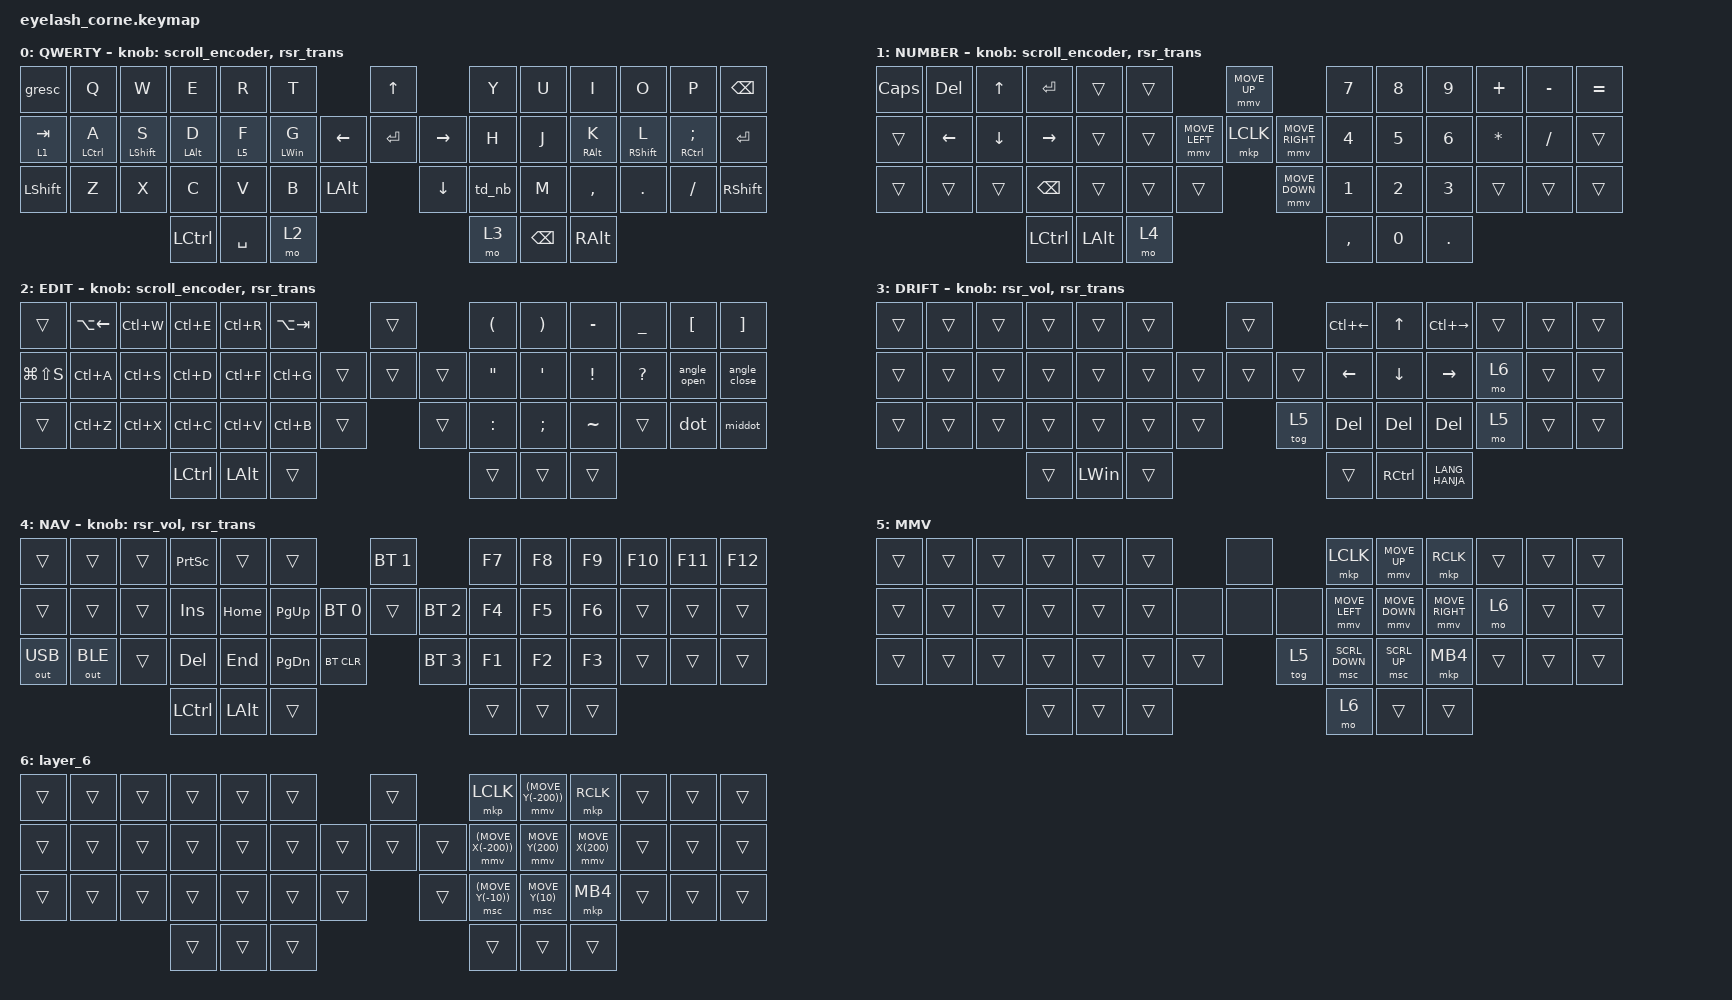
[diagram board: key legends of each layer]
#define ZMK_POINTING_DEFAULT_MOVE_VAL 600  // 600
#define ZMK_POINTING_DEFAULT_SCRL_VAL 30   // 10

#include <input/processors.dtsi>
#include <zephyr/dt-bindings/input/input-event-codes.h>
#include <behaviors/runtime-sensor-rotate.dtsi>
#include <behaviors.dtsi>
#include <dt-bindings/zmk/bt.h>
#include <dt-bindings/zmk/keys.h>
#include <dt-bindings/zmk/outputs.h>
#include <dt-bindings/zmk/pointing.h>
#include <dt-bindings/zmk/rgb.h>

&mmv_input_listener { input-processors = <&zip_xy_scaler 2 1>; };

&msc_input_listener { input-processors = <&zip_scroll_scaler 2 1>; };

&msc {
    acceleration-exponent = <1>;
    time-to-max-speed-ms = <200>;
    delay-ms = <0>;
};

&mmv {
    time-to-max-speed-ms = <700>;
    acceleration-exponent = <1>;
    trigger-period-ms = <16>;
};

&soft_off { hold-time-ms = <2000>; };

/ {
    behaviors {
        td0: td0 {
            compatible = "zmk,behavior-tap-dance";
            display-name = "Shift/Caps Lock Tap Dance";
            #binding-cells = <0>;
            bindings = <&kp LEFT_SHIFT>, <&kp CAPS>;
        };

        td_nb: td_nb {
            compatible = "zmk,behavior-tap-dance";
            label = "TD_NB";
            #binding-cells = <0>;
            bindings = <&kp N>, <&kp B>;
        };

        rsr_trans: rsr_trans {
            compatible = "zmk,behavior-runtime-sensor-rotate";
            #sensor-binding-cells = <0>;
            tap-ms = <0>;
        };

        rsr_vol: rsr_vol {
            compatible = "zmk,behavior-runtime-sensor-rotate";
            #sensor-binding-cells = <0>;
            tap-ms = <5>;
            cw-binding = <&kp C_VOL_UP>;
            ccw-binding = <&kp C_VOL_DN>;
        };

        home_mod: home_mod {
            compatible = "zmk,behavior-hold-tap";
            label = "HOME_MOD";
            bindings = <&kp>, <&kp>;

            #binding-cells = <2>;
            quick-tap-ms = <0>;
            tapping-term-ms = <500>;
            flavor = "tap-preferred";
        };

        home_mmv: home_mmv {
            compatible = "zmk,behavior-hold-tap";
            label = "HOME_MMV";
            bindings = <&mo>, <&kp>;

            #binding-cells = <2>;
            quick-tap-ms = <0>;
            tapping-term-ms = <500>;
            flavor = "tap-preferred";
        };
    };

    rgb_encoder: rgb_encoder {
        compatible = "zmk,behavior-sensor-rotate";
        #sensor-binding-cells = <0>;
        bindings = <&rgb_ug RGB_BRI>, <&rgb_ug RGB_BRD>;
    };

    scroll_encoder: scroll_encoder {
        compatible = "zmk,behavior-sensor-rotate";
        #sensor-binding-cells = <0>;
        bindings = <&msc SCRL_DOWN>, <&msc SCRL_UP>;

        tap-ms = <100>;
    };

    combos {
        compatible = "zmk,combos";

        softoff {
            bindings = <&soft_off>;
            key-positions = <1 15 29>;
        };
    };

    macros {
        dot: dot {
            compatible = "zmk,behavior-macro";
            #binding-cells = <0>;
            bindings =
                <&macro_press>,
                <&kp LEFT_ALT>,
                <&macro_tap>,
                <&kp KP_N0 &kp KP_N1 &kp KP_NUMBER_4 &kp KP_NUMBER_9>,
                <&macro_release>,
                <&kp LEFT_ALT>;

            label = "DOT";
            wait-ms = <20>;
            tap-ms = <20>;
        };

        angle_open: angle_open {
            compatible = "zmk,behavior-macro";
            #binding-cells = <0>;
            bindings =
                <&macro_press>,
                <&kp LEFT_ALT>,
                <&macro_tap>,
                <&kp KP_PLUS &kp KP_N3 &kp KP_NUMBER_0 &kp KP_NUMBER_0 &kp KP_NUMBER_8>,
                <&macro_release>,
                <&kp LEFT_ALT>;

            label = "ANGLE_OPEN";
            wait-ms = <20>;
            tap-ms = <20>;
        };

        angle_close: angle_close {
            compatible = "zmk,behavior-macro";
            #binding-cells = <0>;
            bindings =
                <&macro_press>,
                <&kp LEFT_ALT>,
                <&macro_tap>,
                <&kp KP_PLUS &kp KP_N3 &kp KP_NUMBER_0 &kp KP_NUMBER_0 &kp KP_NUMBER_9>,
                <&macro_release>,
                <&kp LEFT_ALT>;

            label = "angle_close";
            wait-ms = <20>;
            tap-ms = <20>;
        };

        middot: middot {
            compatible = "zmk,behavior-macro";
            #binding-cells = <0>;
            bindings =
                <&macro_press>,
                <&kp LEFT_ALT>,
                <&macro_tap>,
                <&kp KP_N0 &kp KP_N1 &kp KP_NUMBER_8 &kp KP_NUMBER_3>,
                <&macro_release>,
                <&kp LEFT_ALT>;

            label = "middot";
            wait-ms = <20>;
            tap-ms = <20>;
        };
    };

    keymap {
        compatible = "zmk,keymap";

        default_layer {
            display-name = "QWERTY";
            bindings = <
&gresc     &kp Q              &kp W              &kp E             &kp R          &kp T                                       &kp UP                &kp Y   &kp U          &kp I             &kp O              &kp P                      &kp BSPC
&lt 1 TAB  &home_mod LCTRL A  &home_mod LSHFT S  &home_mod LALT D  &home_mmv 5 F  &home_mod LEFT_WIN G              &kp LEFT  &kp ENTER  &kp RIGHT  &kp H   &kp J          &home_mod RALT K  &home_mod RSHFT L  &home_mod RCTRL SEMICOLON  &kp ENTER
&kp LSHFT  &kp Z              &kp X              &kp C             &kp V          &kp B                 &kp LALT              &kp DOWN              &td_nb  &kp M          &kp COMMA         &kp DOT            &kp FSLH                   &kp RSHFT
                                                 &kp LCTRL         &kp SPACE      &mo 2                                                             &mo 3   &kp BACKSPACE  &kp RALT
            >;

            sensor-bindings = <&scroll_encoder>, <&rsr_trans>;
        };

        lower_layer {
            display-name = "NUMBER";
            bindings = <
&kp CAPS  &kp DELETE  &kp UP_ARROW  &kp ENTER      &trans    &trans                            &mmv MOVE_UP                     &kp N7     &kp N8  &kp N9      &kp PLUS   &kp MINUS  &kp EQUAL
&trans    &kp LEFT    &kp DOWN      &kp RIGHT      &trans    &trans            &mmv MOVE_LEFT  &mkp LCLK       &mmv MOVE_RIGHT  &kp N4     &kp N5  &kp N6      &kp ASTRK  &kp SLASH  &trans
&trans    &trans      &trans        &kp BACKSPACE  &trans    &trans  &trans                    &mmv MOVE_DOWN                   &kp N1     &kp N2  &kp N3      &trans     &trans     &trans
                                    &kp LCTRL      &kp LALT  &mo 4                                                              &kp COMMA  &kp N0  &kp PERIOD
            >;

            sensor-bindings = <&scroll_encoder>, <&rsr_trans>;
        };

        raise_layer {
            display-name = "EDIT";
            bindings = <
&trans         &kp LA(LEFT_ARROW)  &kp LC(W)  &kp LC(E)  &kp LC(R)     &kp LA(TAB)                    &trans          &kp LEFT_PARENTHESIS  &kp RIGHT_PARENTHESIS  &kp MINUS  &kp UNDERSCORE  &kp LEFT_BRACKET  &kp RIGHT_BRACKET
&kp LG(LS(S))  &kp LC(A)           &kp LC(S)  &kp LC(D)  &kp LC(F)     &kp LC(G)              &trans  &trans  &trans  &kp DOUBLE_QUOTES     &kp SINGLE_QUOTE       &kp EXCL   &kp QUESTION    &angle_open       &angle_close
&trans         &kp LC(Z)           &kp LC(X)  &kp LC(C)  &kp LC(V)     &kp LC(B)    &trans            &trans          &kp COLON             &kp SEMICOLON          &kp TILDE  &trans          &dot              &middot
                                              &kp LCTRL  &kp LEFT_ALT  &trans                                         &trans                &trans                 &trans
            >;

            sensor-bindings = <&scroll_encoder>, <&rsr_trans>;
        };

        layer_3 {
            display-name = "DRIFT";
            bindings = <
&trans  &trans  &trans  &trans  &trans        &trans                    &trans          &kp LC(LEFT)    &kp UP_ARROW    &kp LC(RIGHT)   &trans  &trans  &trans
&trans  &trans  &trans  &trans  &trans        &trans            &trans  &trans  &trans  &kp LEFT_ARROW  &kp DOWN_ARROW  &kp RIGHT       &mo 6   &trans  &trans
&trans  &trans  &trans  &trans  &trans        &trans  &trans            &tog 5          &kp DELETE      &kp DELETE      &kp DEL         &mo 5   &trans  &trans
                        &trans  &kp LEFT_WIN  &trans                                    &trans          &kp RCTRL       &kp LANG_HANJA
            >;

            sensor-bindings = <&rsr_vol &rsr_trans>;
        };

        layer_4 {
            display-name = "NAV";
            bindings = <
&trans        &trans        &trans  &kp PRINTSCREEN  &trans        &trans                                     &bt BT_SEL 1                &kp F7  &kp F8  &kp F9  &kp F10  &kp F11  &kp F12
&trans        &trans        &trans  &kp INSERT       &kp HOME      &kp PAGE_UP                  &bt BT_SEL 0  &trans        &bt BT_SEL 2  &kp F4  &kp F5  &kp F6  &trans   &trans   &trans
&out OUT_USB  &out OUT_BLE  &trans  &kp DELETE       &kp END       &kp PAGE_DOWN  &bt BT_CLR                  &bt BT_SEL 3                &kp F1  &kp F2  &kp F3  &trans   &trans   &trans
                                    &kp LCTRL        &kp LEFT_ALT  &trans                                                                 &trans  &trans  &trans
            >;

            sensor-bindings = <&rsr_vol &rsr_trans>;
        };

        layer_5 {
            bindings = <
&trans  &trans  &trans  &trans  &trans  &trans                   &none          &mkp LCLK       &mmv MOVE_UP    &mkp RCLK        &trans  &trans  &trans
&trans  &trans  &trans  &trans  &trans  &trans            &none  &none   &none  &mmv MOVE_LEFT  &mmv MOVE_DOWN  &mmv MOVE_RIGHT  &mo 6   &trans  &trans
&trans  &trans  &trans  &trans  &trans  &trans  &trans           &tog 5         &msc SCRL_DOWN  &msc SCRL_UP    &mkp MB4         &trans  &trans  &trans
                        &trans  &trans  &trans                                  &mo 6           &trans          &trans
            >;

            label = "MMV";
        };

        layer_6 {
            bindings = <
&trans  &trans  &trans  &trans  &trans  &trans                    &trans          &mkp LCLK            &mmv (MOVE_Y(-200))  &mkp RCLK         &trans  &trans  &trans
&trans  &trans  &trans  &trans  &trans  &trans            &trans  &trans  &trans  &mmv (MOVE_X(-200))  &mmv MOVE_Y(200)     &mmv MOVE_X(200)  &trans  &trans  &trans
&trans  &trans  &trans  &trans  &trans  &trans  &trans            &trans          &msc (MOVE_Y(-10))   &msc MOVE_Y(10)      &mkp MB4          &trans  &trans  &trans
                        &trans  &trans  &trans                                    &trans               &trans               &trans
            >;
        };
    };
};
